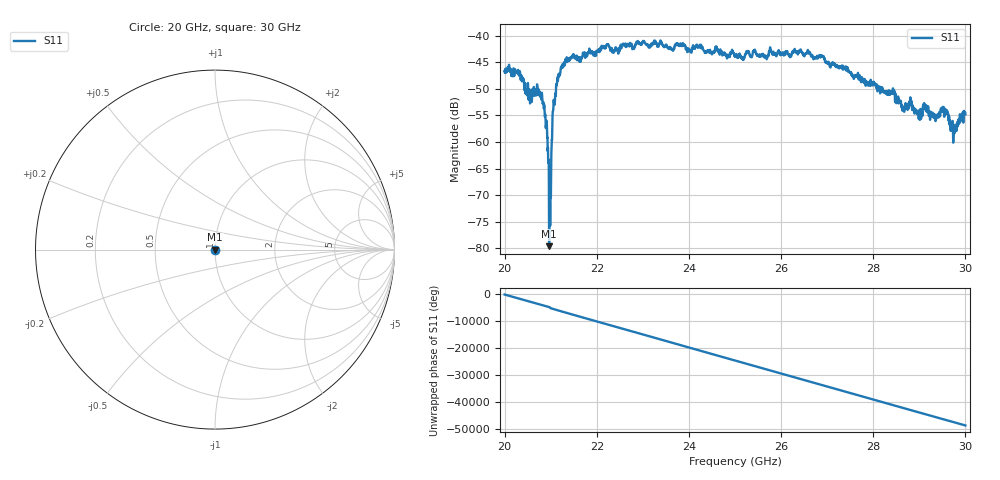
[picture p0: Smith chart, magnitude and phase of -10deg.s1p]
#  HZ  S  RI  R  50.00
! Rohde & Schwarz ZVA40 4Ports - Version 3.90 - 1145.1110k42 SN: 100403
! Date: 2023-10-03 11:30:29
! Measurement: S12
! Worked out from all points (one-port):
!   5001 points, 20 GHz to 30 GHz, reference 50 ohm
!   lowest |S11| = -79.6 dB at 20.97 GHz (marker M1), VSWR 1.00, Z = 50 - j0.0105 ohm
!   |S11| at or under -10 dB: start of sweep to end of sweep
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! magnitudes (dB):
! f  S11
! 20 GHz  -46.6
! 20.29 GHz  -46.5
! 20.54 GHz  -50.7
! 20.78 GHz  -51.0
! 20.88 GHz  -54.8
! 20.97 GHz  -79.6
! 20.98 GHz  -69.8
! 21.01 GHz  -64.4
! 21.06 GHz  -53.5
! 21.09 GHz  -52.9
! 21.17 GHz  -47.3
! 21.25 GHz  -45.9
! 21.46 GHz  -44.0
! 22.21 GHz  -41.9
! 22.5 GHz  -42.4
! 23.75 GHz  -41.4
! 25 GHz  -43.9
! 26.25 GHz  -43.2
! 26.88 GHz  -44.0
! 27.5 GHz  -47.0
! 28.65 GHz  -53.9
! 28.75 GHz  -53.5
! 28.99 GHz  -54.4
! 29.12 GHz  -53.7
! 29.34 GHz  -55.3
! 29.55 GHz  -54.0
! 29.76 GHz  -58.4
! 30 GHz  -54.8
